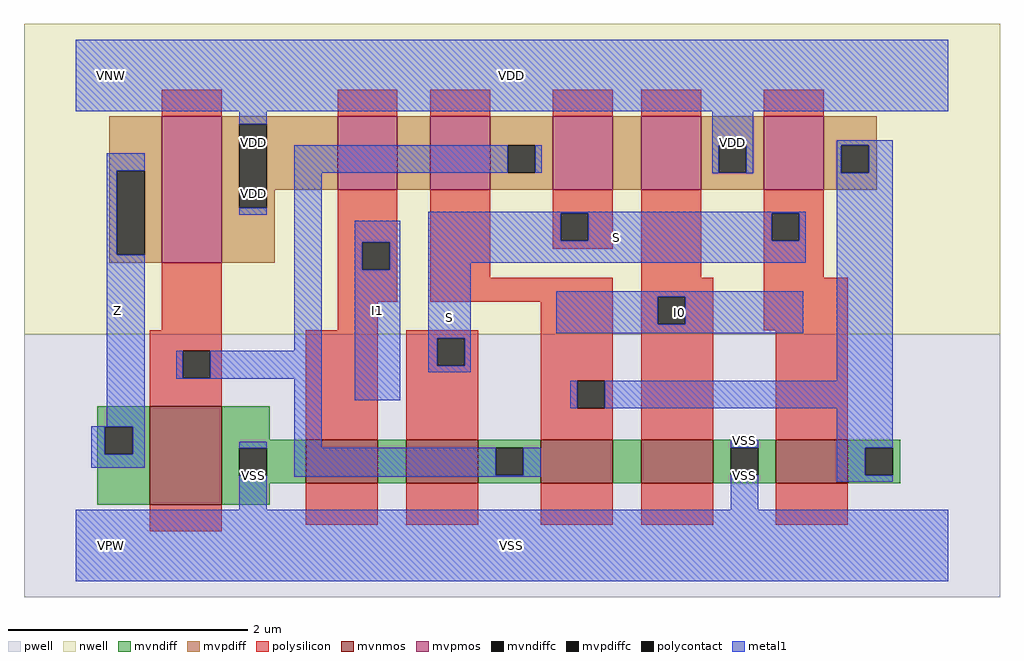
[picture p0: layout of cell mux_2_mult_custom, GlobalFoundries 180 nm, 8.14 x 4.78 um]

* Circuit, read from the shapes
.subckt mux_2_mult_custom I0 I1 S Z VDD VNW VPW VSS
XM1 VSS n1 Z VPW nfet_06v0 w=0.82u l=0.6u
XM2 n2 I1 VSS VPW nfet_06v0 w=0.36u l=0.6u
XM3 n1 S n2 VPW nfet_06v0 w=0.36u l=0.6u
XM4 n3 n4 n1 VPW nfet_06v0 w=0.36u l=0.6u
XM5 VSS I0 n3 VPW nfet_06v0 w=0.36u l=0.6u
XM6 n4 S VSS VPW nfet_06v0 w=0.36u l=0.6u
XM7 VDD n1 Z VNW pfet_06v0 w=1.22u l=0.5u
XM8 n5 I1 VDD VNW pfet_06v0 w=0.615u l=0.5u
XM9 n1 n4 n5 VNW pfet_06v0 w=0.615u l=0.5u
XM10 n6 S n1 VNW pfet_06v0 w=0.615u l=0.5u
XM11 VDD I0 n6 VNW pfet_06v0 w=0.615u l=0.5u
XM12 n4 S VDD VNW pfet_06v0 w=0.615u l=0.5u
.ends

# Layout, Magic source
magic
tech gf180mcuD
magscale 1 10
<< nwell >>
rect -86 352 1542 870
<< pwell >>
rect -86 -86 1542 352
<< mvnmos >>
rect 124 68 244 232
rect 384 104 504 176
rect 552 104 672 176
rect 776 104 896 176
rect 944 104 1064 176
rect 1168 104 1288 176
<< mvpmos >>
rect 144 472 244 716
rect 437 593 537 716
rect 592 593 692 716
rect 796 593 896 716
rect 944 593 1044 716
rect 1148 593 1248 716
<< mvndiff >>
rect 36 198 124 232
rect 36 152 49 198
rect 95 152 124 198
rect 36 68 124 152
rect 244 176 324 232
rect 244 162 384 176
rect 244 116 273 162
rect 319 116 384 162
rect 244 104 384 116
rect 504 104 552 176
rect 672 163 776 176
rect 672 117 701 163
rect 747 117 776 163
rect 672 104 776 117
rect 896 104 944 176
rect 1064 163 1168 176
rect 1064 117 1093 163
rect 1139 117 1168 163
rect 1064 104 1168 117
rect 1288 163 1376 176
rect 1288 117 1317 163
rect 1363 117 1376 163
rect 1288 104 1376 117
rect 244 68 324 104
<< mvpdiff >>
rect 56 625 144 716
rect 56 485 69 625
rect 115 485 144 625
rect 56 472 144 485
rect 244 703 437 716
rect 244 563 273 703
rect 319 593 437 703
rect 537 593 592 716
rect 692 668 796 716
rect 692 622 721 668
rect 767 622 796 668
rect 692 593 796 622
rect 896 593 944 716
rect 1044 668 1148 716
rect 1044 622 1073 668
rect 1119 622 1148 668
rect 1044 593 1148 622
rect 1248 668 1336 716
rect 1248 622 1277 668
rect 1323 622 1336 668
rect 1248 593 1336 622
rect 319 563 332 593
rect 244 472 332 563
<< mvndiffc >>
rect 49 152 95 198
rect 273 116 319 162
rect 701 117 747 163
rect 1093 117 1139 163
rect 1317 117 1363 163
<< mvpdiffc >>
rect 69 485 115 625
rect 273 563 319 703
rect 721 622 767 668
rect 1073 622 1119 668
rect 1277 622 1323 668
<< polysilicon >>
rect 144 716 244 760
rect 437 716 537 760
rect 592 716 692 760
rect 796 716 896 760
rect 944 716 1044 760
rect 1148 716 1248 760
rect 437 506 537 593
rect 144 359 244 472
rect 437 460 478 506
rect 524 460 537 506
rect 437 407 537 460
rect 592 447 692 593
rect 796 554 896 593
rect 796 508 809 554
rect 855 508 896 554
rect 796 495 896 508
rect 944 447 1044 593
rect 1148 554 1248 593
rect 1148 508 1161 554
rect 1207 508 1248 554
rect 1148 447 1248 508
rect 592 407 896 447
rect 437 359 504 407
rect 124 325 244 359
rect 124 279 179 325
rect 225 279 244 325
rect 124 232 244 279
rect 384 176 504 359
rect 552 346 672 359
rect 552 300 603 346
rect 649 300 672 346
rect 552 176 672 300
rect 776 275 896 407
rect 776 229 837 275
rect 883 229 896 275
rect 776 176 896 229
rect 944 415 1064 447
rect 944 369 971 415
rect 1017 369 1064 415
rect 944 176 1064 369
rect 1148 359 1288 447
rect 1168 176 1288 359
rect 124 24 244 68
rect 384 35 504 104
rect 552 35 672 104
rect 776 35 896 104
rect 944 35 1064 104
rect 1168 35 1288 104
<< polycontact >>
rect 478 460 524 506
rect 809 508 855 554
rect 1161 508 1207 554
rect 179 279 225 325
rect 603 300 649 346
rect 837 229 883 275
rect 971 369 1017 415
<< metal1 >>
rect 0 724 1456 844
rect 273 703 319 724
rect 52 625 115 654
rect 52 485 69 625
rect 1062 668 1130 724
rect 273 552 319 563
rect 365 622 721 668
rect 767 622 778 668
rect 1062 622 1073 668
rect 1119 622 1130 668
rect 52 199 115 485
rect 365 325 411 622
rect 1062 621 1130 622
rect 1270 668 1363 676
rect 1270 622 1277 668
rect 1323 622 1363 668
rect 588 554 1218 557
rect 168 279 179 325
rect 225 279 411 325
rect 168 278 411 279
rect 26 198 115 199
rect 26 152 49 198
rect 95 152 115 198
rect 26 130 115 152
rect 273 162 319 173
rect 273 60 319 116
rect 365 163 411 278
rect 466 506 542 542
rect 466 460 478 506
rect 524 460 542 506
rect 466 242 542 460
rect 588 508 809 554
rect 855 508 1161 554
rect 1207 508 1218 554
rect 588 472 1218 508
rect 588 346 659 472
rect 802 415 1214 424
rect 802 369 971 415
rect 1017 369 1214 415
rect 802 354 1214 369
rect 588 300 603 346
rect 649 300 659 346
rect 588 289 659 300
rect 1270 275 1363 622
rect 825 229 837 275
rect 883 229 1363 275
rect 1093 163 1139 176
rect 365 117 701 163
rect 747 117 776 163
rect 365 115 776 117
rect 1093 60 1139 117
rect 1270 163 1363 229
rect 1270 117 1317 163
rect 1270 106 1363 117
rect 0 -60 1456 60
<< labels >>
flabel metal1 s 588 472 1218 557 0 FreeSans 400 0 0 0 S
port 3 nsew default input
flabel metal1 s 0 724 1456 844 0 FreeSans 400 0 0 0 VDD
port 5 nsew power bidirectional abutment
flabel metal1 s 1093 173 1139 176 0 FreeSans 400 0 0 0 VSS
port 8 nsew ground bidirectional abutment
flabel metal1 s 26 130 115 654 0 FreeSans 400 0 0 0 Z
port 4 nsew default output
flabel metal1 s 802 354 1214 424 0 FreeSans 400 0 0 0 I0
port 1 nsew default input
flabel metal1 s 466 242 542 542 0 FreeSans 400 0 0 0 I1
port 2 nsew default input
flabel nwell s 10 734 110 834 0 FreeSans 400 0 0 0 VNW
port 6 nsew power bidirectional
flabel pwell s 10 -50 110 50 0 FreeSans 400 0 0 0 VPW
port 7 nsew ground bidirectional
rlabel metal1 s 588 289 659 472 1 S
port 3 nsew default input
rlabel metal1 s 1062 621 1130 724 1 VDD
port 5 nsew power bidirectional abutment
rlabel metal1 s 273 621 319 724 1 VDD
port 5 nsew power bidirectional abutment
rlabel metal1 s 273 552 319 621 1 VDD
port 5 nsew power bidirectional abutment
rlabel metal1 s 1093 60 1139 173 1 VSS
port 8 nsew ground bidirectional abutment
rlabel metal1 s 273 60 319 173 1 VSS
port 8 nsew ground bidirectional abutment
rlabel metal1 s 0 -60 1456 60 1 VSS
port 8 nsew ground bidirectional abutment
<< properties >>
string FIXED_BBOX 0 0 1456 784
string GDS_END 664396
string GDS_FILE $PDKPATH/libs.ref/gf180mcu_fd_sc_mcu7t5v0/gds/gf180mcu_fd_sc_mcu7t5v0.gds
string GDS_START 660396
string LEFclass core
string LEFsite GF018hv5v_mcu_sc7
string LEFsymmetry X Y
<< end >>
